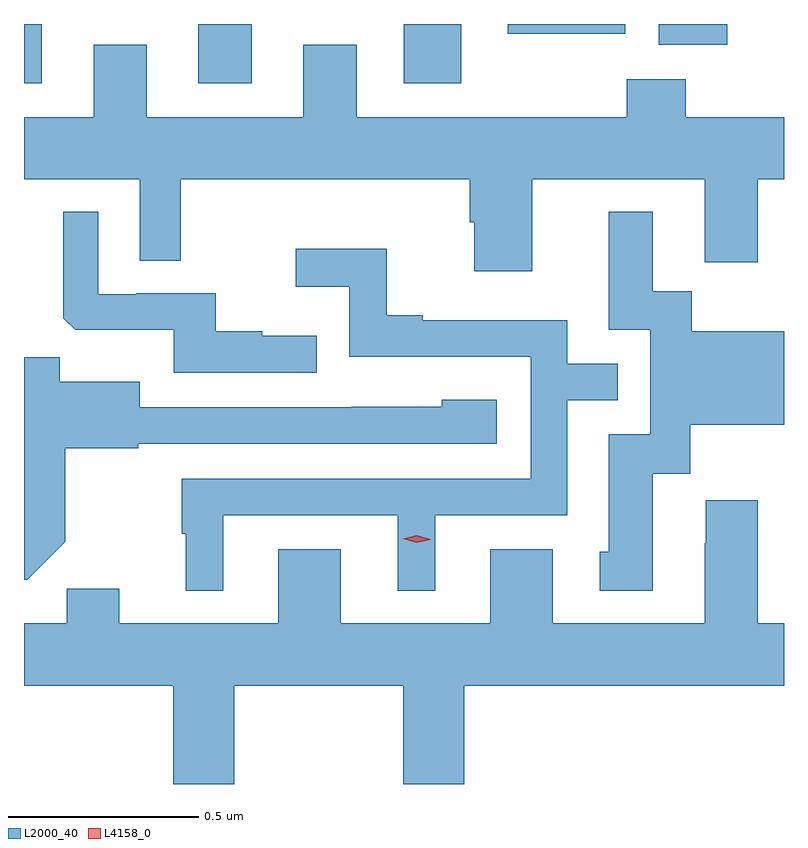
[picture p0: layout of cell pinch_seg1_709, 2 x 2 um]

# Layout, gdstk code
import gdstk
lib = gdstk.Library(unit=1e-6, precision=1e-09)
def R(c, l, rs):  # rectangles x0, y0, x1, y1
    for r in rs: c.add(gdstk.rectangle(r[:2], r[2:], *l))
def P(c, l, *ps):  # polygons
    for p in ps: c.add(gdstk.Polygon(p, *l))
L2000_40 = (2000, 40)
L4158_0 = (4158, 0)

pinch_seg1_709 = lib.new_cell('pinch_seg1_709')
R(pinch_seg1_709, L2000_40, [(743.738,545.325,743.785,545.481), (744.197,545.325,744.337,545.481), (744.737,545.325,744.889,545.481), (745.409,545.426,745.588,545.481), (745.011,545.455,745.32,545.481)])
P(pinch_seg1_709, L2000_40, [(745.075,545.072),(745.529,545.072),(745.529,544.854),(745.669,544.854),(745.669,545.072),(745.738,545.072),(745.738,545.236),(745.479,545.236),(745.479,545.335),(745.324,545.335),(745.324,545.236),(744.613,545.236),(744.613,545.426),(744.473,545.426),(744.473,545.236),(744.061,545.236),(744.061,545.426),(743.921,545.426),(743.921,545.236),(743.738,545.236),(743.738,545.072),(744.042,545.072),(744.042,544.858),(744.151,544.858),(744.151,545.072),(744.911,545.072),(744.911,544.959),(744.923,544.959),(744.923,544.83),(745.075,544.83)],
  [(745.393,544.298),(745.491,544.298),(745.491,544.427),(745.738,544.427),(745.738,544.672),(745.495,544.672),(745.495,544.778),(745.393,544.778),(745.393,544.987),(745.277,544.987),(745.277,544.677),(745.386,544.677),(745.386,544.401),(745.277,544.401),(745.277,544.092),(745.253,544.092),(745.253,543.99),(745.393,543.99)],
  [(744.509,544.66),(744.365,544.66),(744.365,544.672),(744.242,544.672),(744.242,544.773),(744.034,544.773),(744.034,544.77),(743.934,544.77),(743.934,544.987),(743.841,544.987),(743.841,544.707),(743.873,544.676),(744.132,544.676),(744.132,544.563),(744.509,544.563)],
  [(744.262,544.188),(744.722,544.188),(744.722,543.989),(744.82,543.989),(744.82,544.188),(745.167,544.188),(745.167,544.491),(745.301,544.491),(745.301,544.587),(745.167,544.587),(745.167,544.701),(744.787,544.701),(744.787,544.714),(744.693,544.714),(744.693,544.889),(744.453,544.889),(744.453,544.79),(744.594,544.79),(744.594,544.605),(745.071,544.605),(745.071,544.284),(744.153,544.284),(744.153,544.14),(744.164,544.14),(744.164,543.989),(744.262,543.989)],
  [(743.847,544.119),(743.847,544.365),(744.039,544.365),(744.039,544.377),(744.982,544.377),(744.982,544.492),(744.837,544.492),(744.837,544.474),(744.601,544.474),(744.601,544.473),(744.043,544.473),(744.043,544.54),(743.832,544.54),(743.832,544.604),(743.738,544.604),(743.738,544.019),(743.747,544.019)],
  [(744.291,543.74),(744.736,543.74),(744.736,543.481),(744.896,543.481),(744.896,543.74),(745.738,543.74),(745.738,543.904),(745.669,543.904),(745.669,544.228),(745.532,544.228),(745.532,544.115),(745.529,544.115),(745.529,543.904),(745.129,543.904),(745.129,544.099),(744.965,544.099),(744.965,543.904),(744.571,543.904),(744.571,544.099),(744.407,544.099),(744.407,543.904),(743.989,543.904),(743.989,543.995),(743.851,543.995),(743.851,543.904),(743.738,543.904),(743.738,543.74),(744.131,543.74),(744.131,543.481),(744.291,543.481)])
P(pinch_seg1_709, L4158_0, [(744.771,544.116),(744.735,544.126),(744.735,544.127),(744.735,544.127),(744.771,544.135),(744.807,544.125),(744.807,544.124),(744.807,544.124)])

lib.write_gds('pinch_seg1_709.gds')
